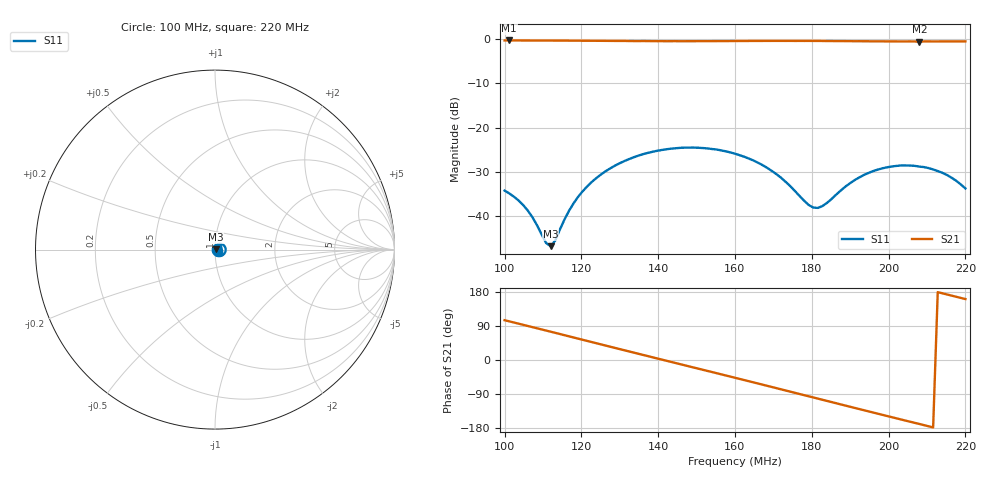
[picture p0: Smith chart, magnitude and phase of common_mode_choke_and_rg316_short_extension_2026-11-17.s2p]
# HZ S RI R 50
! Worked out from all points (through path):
!   101 points, 100 MHz to 220 MHz, reference 50 ohm
!   highest |S21| = -0.34 dB at 101.2 MHz (marker M1); lowest = -0.6 dB at 208 MHz (marker M2)
!   group delay of S21, straight-line fit = 7.04 ns
!   lowest |S11| = -46.8 dB at 112 MHz (marker M3), VSWR 1.01, Z = 50.4 + j0.207 ohm
!   |S11| at or under -10 dB: start of sweep to end of sweep
!   S12 and S22 are empty: the file has one direction only
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1e8  0.0179 -0.00759  -0.2487 0.9293  0 0  0 0
1.012e8  0.0163 -0.00766  -0.1997 0.9411  0 0  0 0
1.06e8  0.0102 -0.00561  0.00204 0.961  0 0  0 0
1.108e8  0.00497 0.000114  0.2043 0.9377  0 0  0 0
1.12e8  0.00409 0.00206  0.2538 0.9254  0 0  0 0
1.132e8  0.00336 0.00411  0.3025 0.9099  0 0  0 0
1.168e8  0.00299 0.0112  0.4435 0.8485  0 0  0 0
1.204e8  0.00517 0.0185  0.5727 0.7649  0 0  0 0
1.288e8  0.0206 0.031  0.8082 0.5001  0 0  0 0
1.36e8  0.0402 0.0297  0.9212 0.2209  0 0  0 0
1.408e8  0.0516 0.021  0.9442 0.0233  0 0  0 0
1.504e8  0.0585 -0.00849  0.8714 -0.3646  0 0  0 0
1.6e8  0.0382 -0.0334  0.6478 -0.6919  0 0  0 0
1.708e8  0.00169 -0.0297  0.257 -0.9161  0 0  0 0
1.804e8  -0.0124 -0.00148  -0.1465 -0.9389  0 0  0 0
1.828e8  -0.0114 0.00634  -0.2466 -0.9167  0 0  0 0
1.9e8  0.00178 0.0235  -0.5206 -0.7882  0 0  0 0
1.948e8  0.015 0.0269  -0.673 -0.6584  0 0  0 0
2.008e8  0.0296 0.021  -0.8196 -0.4585  0 0  0 0
2.08e8  0.0359 0.00482  -0.9122 -0.1816  0 0  0 0
2.14e8  0.0294 -0.00915  -0.9363 0.0648  0 0  0 0
2.2e8  0.0143 -0.0147  -0.8874 0.3085  0 0  0 0
